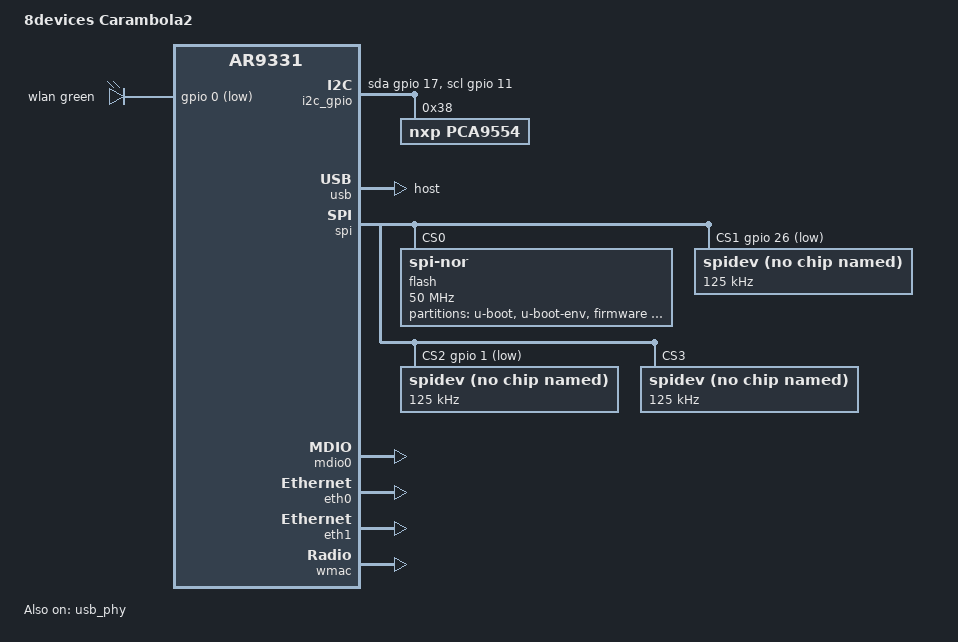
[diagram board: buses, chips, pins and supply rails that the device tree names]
// SPDX-License-Identifier: GPL-2.0-or-later OR MIT
//
// PTSP01 插排（邦讯玩儿插排）设备树
// 硬件基线：8devices Carambola 2（AR9331 / 64MB DRAM / W25Q128 16MB）
//
// 相对上游 target/linux/ath79/dts/ar9331_8dev_carambola2.dts 的改动，
// 每处均以 [PTSP01] 标注，来源都是 2026-11-08 对原厂 3.3.8 固件的实测：
//
//   1. ref 晶振 40MHz -> 25MHz
//      原厂内核 log: AR9331 ref = 25MHz；不改会导致 UART 波特率 / SPI 时钟 / DDR 时序全偏
//   2. 删除 /keys（WPS 键）
//      它占 GPIO11，而 GPIO11 = PCA9554A 的 I2C SCL
//   3. 删除 /leds/eth0、/leds/eth1
//      分别占 GPIO13 / GPIO14，而 GPIO14 = PL7223 的 RST
//   4. 新增 /i2c-gpio + PCA9554A(0x38)
//      PL7223 的隔离使能、片选都挂在这颗扩展器上（原厂 ko 依赖 i2c_master_send/recv）
//   5. &spi 下新增 spidev@1
//      给 PL7223 留一个用户态出口；CS0 仍然归 spi-nor（flash）

#include "ar9331.dtsi"

#include <dt-bindings/gpio/gpio.h>
#include <dt-bindings/leds/common.h>

/ {
	model = "8devices Carambola2";
	compatible = "8dev,carambola2", "qca,ar9331";

	aliases {
		label-mac-device = &wmac;
	};

	leds {
		compatible = "gpio-leds";

		wlan {
			function = LED_FUNCTION_WLAN;
			color = <LED_COLOR_ID_GREEN>;
			gpios = <&gpio 0 GPIO_ACTIVE_LOW>;
			linux,default-trigger = "phy0tpt";
		};

		/* [PTSP01] 上游这里的 eth0(GPIO13) / eth1(GPIO14) 已删除 */
	};

	/* [PTSP01] 上游的 /keys（wps@GPIO11）已删除 */

	/*
	 * [PTSP01] GPIO 模拟 I2C —— 接 PCA9554A
	 *
	 * 极性依据（原厂寄存器实测）：
	 *   SDA(GPIO17)：OUT.bit17 恒 0 + 翻转 OE，空闲高靠板上 10k 上拉
	 *                => 必须走「开漏模拟」，因此 **不能** 声明 i2c-gpio,sda-open-drain
	 *                   （该属性在 i2c-gpio 驱动里语义反转：声明了反而变推挽）
	 *   SCL(GPIO11)：OE.bit11 恒 1 推挽，板上无上拉
	 *                => 声明 i2c-gpio,scl-has-no-pullup
	 *
	 * pinctrl-0 是必须的：0x28 的 bit3~7 是 ETH_SWITCH_LED0..4_EN，
	 * 一旦为 1，GPIO17 的输出锁存立刻失效、被交换机 LED 输出接管，SDA 永远拉不低。
	 * breed / U-Boot 在不同次上电后该位并不稳定，所以必须在内核里清掉。
	 */
	i2c_gpio: i2c-gpio {
		compatible = "i2c-gpio";
		status = "okay";

		sda-gpios = <&gpio 17 GPIO_ACTIVE_HIGH>;
		scl-gpios = <&gpio 11 GPIO_ACTIVE_HIGH>;
		i2c-gpio,scl-has-no-pullup;
		i2c-gpio,delay-us = <5>;

		pinctrl-names = "default";
		pinctrl-0 = <&switch_led_disable_pins>;

		#address-cells = <1>;
		#size-cells = <0>;

		pca9554: gpio@38 {
			compatible = "nxp,pca9554";
			reg = <0x38>;
			gpio-controller;
			#gpio-cells = <2>;
		};
	};
};

&ref {
	/* [PTSP01] 本板晶振 25MHz（carambola2 官方设计是 40MHz） */
	clock-frequency = <25000000>;
};

&usb {
	dr_mode = "host";
	status = "okay";
};

&usb_phy {
	status = "okay";
};

&spi {
	/*
	 * [PTSP01] 强制绑定位带驱动。
	 * OpenWrt 的 ath79.dtsi 把这个节点声明成 "qca,ar934x-spi"（硬件引擎），
	 * 实测（2026-11-09，initramfs c12fa92）它接管后：
	 *   spi spi0.1: spi clock is too low        <- 125kHz 被拒（分频 6 位，最低 1.5625MHz）
	 *   spi-ar934x 1f000000.spi: cs3 >= max 3   <- 不解析 cs-gpios，num_chipselect 恒 3
	 * 三个 PL7223 孔全部注册失败。
	 * 改成 "qca,ar7100-spi" 绑回 spi-ath79（spi_bitbang 位带实现）：
	 *   - use_gpio_descriptors=true，cs-gpios 生效，num_chipselect 抬到 4；
	 *   - cs->nsecs=(1e9/2)/hz，125kHz = 半位 4000ns，正好复刻原厂 udelay(4)；
	 *   - flash 走同一个驱动（AR71xx 时代所有 ath79 设备都是它带的 flash，
	 *     mem_ops 快读只对原生 CS0 生效，本板 flash 正是 CS0）。
	 */
	compatible = "qca,ar7100-spi";

	status = "okay";

	/*
	 * [PTSP01] PL7223 的片选：全部走 cs-gpios，
	 * SPI 核心用 gpiod 拉片选，控制器只负责 CLK/MOSI/MISO 的位带。
	 * 这是原厂 flash_spi_down 那套的现代等价物，时序由内核保证。
	 *
	 * 为什么不用 /dev/mem 自己做位带（2026-11-09 实测）：
	 *   从用户态经 /dev/mem 写 SPI 控制器 IOC 寄存器（0x1f000008）无效
	 *   —— 写 0x12345678 回读仍是 0x70000，GPIO IN 也不跟随。
	 *   而内核 spi-ath79 本身就是位带驱动（spi_bitbang + 手写 IOC），
	 *   jedec_id 能读回 ef4018，证明内核侧写 IOC 完全正常。
	 *   => 位带只能由内核做。
	 *
	 * ⚠ spi-ath79 置了 SPI_CONTROLLER_GPIO_SS，spi_set_cs() 会在拨完
	 *   cs-gpios 之后**再调一次控制器的 chipselect**，即写 IOC bit(16+reg)。
	 *   IOC bit17 = 硬件 CS1 引脚 = GPIO17 = 本板 I²C SDA，
	 *   IOC bit18 = GPIO18。所以「走扩展器」的那个孔特意安排到 reg=3
	 *   （IOC bit19，无对应引脚，绝对无害）。
	 *
	 * cs-gpios 索引 = spi 设备的 reg：
	 *   [0] <0>          -> flash 仍用控制器原生 CS0（官方 binding 里
	 *                       "<0>" 就是「本项用原生片选」的写法）
	 *   [1] GPIO26       -> PL7223 孔3 片选（原厂 CS3=26）
	 *   [2] GPIO1        -> PL7223 孔2 片选（原厂 CS2=1）
	 *   [3] <0>          -> PL7223 孔1：交给控制器原生 CS3
	 *                       = IOC bit19，本板无对应引脚，绝对无害。
	 *                       孔1 真正的片选是 GPIO17，由 pl7223.sh 用
	 *                       /dev/mem 位带（OE bit17）手动控制。
	 *
	 * 为什么孔1 必须用 <0> 而不是扩展器 P1（2026-11-10 真机实测）：
	 *   原 DTS 把孔1 片选挂到 PCA9554 的 P1。但内核每次对该设备做 SPI
	 *   事务都要经 i2c 写 P1，而孔1 的片选 GPIO17 **正是 i2c 的 SDA**
	 *   —— GPIO17 一拉低，i2c 立刻死，内核 gpiod 操作超时，连带把 PCA
	 *   的 P0（SPI 隔离使能）一起带掉，于是三孔全部读回 00。
	 *   实测对照：不碰孔1 时孔2/孔3 读写完全正常（写 0x20 读回 0x20）；
	 *   一旦插入孔1 事务，三孔全 0。改成 <0> 后内核不再碰 i2c。
	 *
	 * 注意：cs-gpios / num-cs 必须写在所有子节点之前 ——
	 * dtc 只允许属性先于子节点，否则报
	 * "Properties must precede subnodes"（曾因此让整个构建挂在 install 阶段）。
	 */
	cs-gpios = <0>, <&gpio 26 GPIO_ACTIVE_LOW>,
		   <&gpio 1 GPIO_ACTIVE_LOW>, <0>;
	num-cs = <4>;

	flash@0 {
		compatible = "jedec,spi-nor";
		spi-max-frequency = <50000000>;
		reg = <0>;

		partitions {
			compatible = "fixed-partitions";
			#address-cells = <1>;
			#size-cells = <1>;

			uboot: partition@0 {
				label = "u-boot";
				reg = <0x000000 0x040000>;
				read-only;
			};

			partition@40000 {
				label = "u-boot-env";
				reg = <0x040000 0x010000>;
				read-only;
			};

			partition@50000 {
				compatible = "denx,uimage";
				label = "firmware";
				reg = <0x50000 0xfa0000>;
			};

			partition@ff0000 {
				label = "art";
				reg = <0xff0000 0x010000>;
				read-only;

				nvmem-layout {
					compatible = "fixed-layout";
					#address-cells = <1>;
					#size-cells = <1>;

					/*
					 * [PTSP01] 注意：本板 ART 是 AP121F 布局，真实 MAC 在 +0x1002，
					 * 不是上游假设的 +0x0。上游 <0x0 0x6> 在本机会读到 FF:FF:FF:FF:FF:FF。
					 *
					 * 这里暂不改 nvmem 偏移 —— 因为 MAC 夹在 calibration(0x1000+0x440)
					 * 内部，改偏移会造成 nvmem cell 重叠。MAC 改由
					 * files/etc/uci-defaults/99-ptsp01-mac 在首次启动时写死。
					 */
					macaddr_art_0: macaddr@0 {
						reg = <0x0 0x6>;
					};

					macaddr_art_6: macaddr@6 {
						reg = <0x6 0x6>;
					};

					cal_art_1000: calibration@1000 {
						reg = <0x1000 0x440>;
					};
				};
			};
		};
	};

	/*
	 * 125kHz = 原厂位带速率（每个半位 4us），
	 * spi_bitbang 会按 max_speed_hz 用 ndelay 精确控制。
	 */
	spidev@1 {				/* -> PL7223 孔3 (CS = GPIO26) */
		compatible = "rohm,dh2228fv";
		reg = <1>;
		spi-max-frequency = <125000>;
	};

	spidev@2 {				/* -> PL7223 孔2 (CS = GPIO1) */
		compatible = "rohm,dh2228fv";
		reg = <2>;
		spi-max-frequency = <125000>;
	};

	spidev@3 {				/* -> PL7223 孔1 (CS = GPIO17，手动位带；本项用原生 CS3 空引脚) */
		compatible = "rohm,dh2228fv";
		reg = <3>;
		spi-max-frequency = <125000>;
	};
};

&mdio0 {
	status = "okay";
};

&eth0 {
	status = "okay";

	nvmem-cells = <&macaddr_art_0>;
	nvmem-cell-names = "mac-address";

	gmac-config {
		device = <&gmac>;

		switch-phy-addr-swap = <1>;
		switch-phy-swap = <1>;
	};
};

&eth1 {
	status = "okay";

	nvmem-cells = <&macaddr_art_6>;
	nvmem-cell-names = "mac-address";
};

&wmac {
	status = "okay";

	nvmem-cells = <&macaddr_art_6>, <&cal_art_1000>;
	nvmem-cell-names = "mac-address", "calibration";
};
